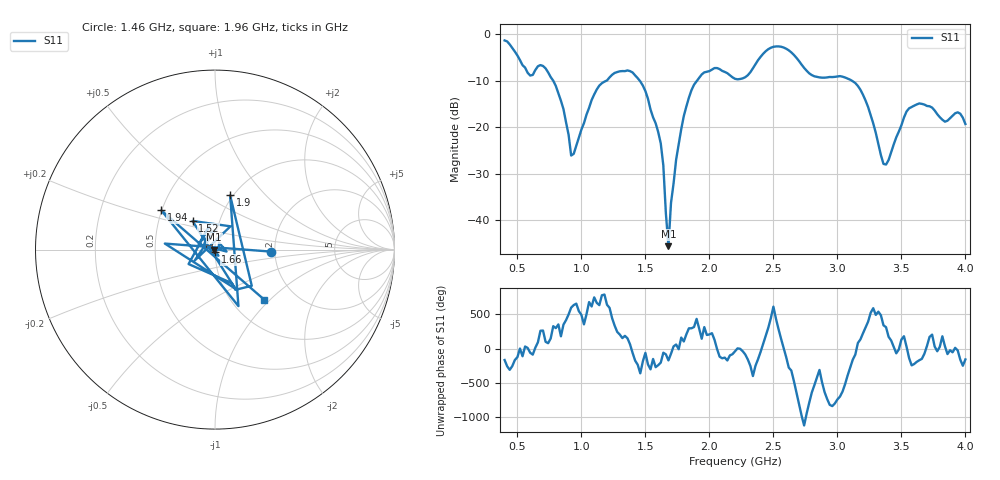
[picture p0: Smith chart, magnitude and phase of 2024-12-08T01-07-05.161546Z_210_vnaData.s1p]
!Created with skrf (http://scikit-rf.org).
# Hz S RI R 50.0
!freq ReS11 ImS11
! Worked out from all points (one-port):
!   181 points, 400 MHz to 4 GHz, reference 50 ohm
!   lowest |S11| = -45.5 dB at 1.68 GHz (marker M1), VSWR 1.01, Z = 49.5 - j0.0647 ohm
!   |S11| at or under -10 dB: 780.6 MHz to 1.193 GHz (412.6 MHz wide, 41.8 % of centre); 1.457 GHz to 1.902 GHz (445.3 MHz wide, 26.5 % of centre); 3.115 GHz to end of sweep
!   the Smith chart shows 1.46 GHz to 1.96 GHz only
!   S11 on the Smith chart (normalised r, x): 1.46 GHz: 1.91, -0.05; 1.52 GHz: 0.74, +0.25; 1.66 GHz: 1.00, -0.02; 1.9 GHz: 0.97, +0.65; 1.94 GHz: 0.50, +0.25; 1.96 GHz: 1.40, -0.92
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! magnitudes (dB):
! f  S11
! 400 MHz  -1.3
! 600 MHz  -8.9
! 720 MHz  -7.3
! 860 MHz  -16.1
! 920 MHz  -26.0
! 1.12 GHz  -11.8
! 1.3 GHz  -7.9
! 1.46 GHz  -10.1
! 1.52 GHz  -13.8
! 1.62 GHz  -23.4
! 1.64 GHz  -28.2
! 1.66 GHz  -38.5
! 1.68 GHz  -45.5
! 1.7 GHz  -36.2
! 1.76 GHz  -23.7
! 1.82 GHz  -15.5
! 1.9 GHz  -10.1
! 1.94 GHz  -8.6
! 1.96 GHz  -8.2
! 2.2 GHz  -9.6
! 2.48 GHz  -2.9
! 2.66 GHz  -4.4
! 2.82 GHz  -9.0
! 3.1 GHz  -9.8
! 3.22 GHz  -14.2
! 3.36 GHz  -27.8
! 3.56 GHz  -15.9
! 4 GHz  -19.3
